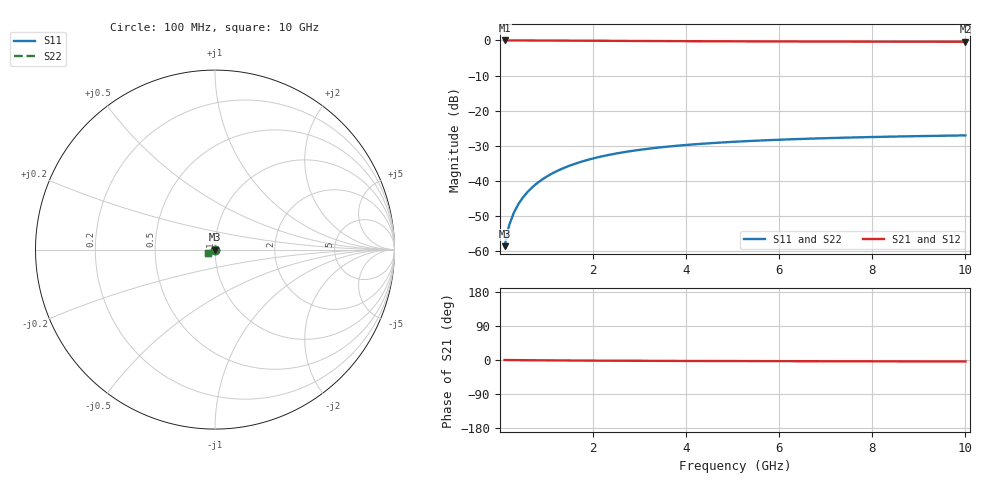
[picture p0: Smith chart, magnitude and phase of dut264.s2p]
! Touchstone file exported from HFSS 2024.1.0
!  File:  C:/UserFiles/LocalFiles/RDL_TSV_Batchsim/temp_TSV1_264_1778769617.aedt
!  Generated:  10:45:46 PM May 14, 2026
!  Design:  TSV1
!  Project:  temp_TSV1_264_1778769617
!  Setup:  Setup1
!  Solution:  Sweep
! Variables:
!  dtsv = 13.04um
!  hbump = 3um
!  htsv = 57.71um
!  lrdl = 252.1521522um
!  p = 40
!  p1 = 44.01um
!  t = 500um
!  trdl = 3um
!  wrdl = 24.89489489um
# GHz S MA R 50.000000
! Terminal data exported
! Port[1] = TSV22_T1
! Port[2] = TSV22_T2
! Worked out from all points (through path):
!   100 points, 100 MHz to 10 GHz, reference 50 ohm
!   highest |S21| = 0.00 dB at 100 MHz (marker M1); lowest = -0.4 dB at 10 GHz (marker M2)
!   lowest |S11| = -58.5 dB at 100 MHz (marker M3), VSWR 1.00, Z = 50 - j0.119 ohm
!   |S11| at or under -10 dB: start of sweep to end of sweep
!   |S22| runs from -58.5 to -27.0 dB; largest |S21 - S12| = 4.2e-15
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0.1  0.00119 -87.9  0.9999 -0.1  0.9999 -0.1  0.00119 -87.9
! Gamma 0 0 0 0
! Port Impedance 50 0 50 0
0.2  0.002384 -91.0  0.9998 -0.2  0.9998 -0.2  0.002384 -91.0
0.3  0.003578 -93.1  0.9996 -0.3  0.9996 -0.3  0.003578 -93.1
0.4  0.004763 -95.0  0.9994 -0.4  0.9994 -0.4  0.004763 -95.0
0.5  0.005938 -96.7  0.9991 -0.5  0.9991 -0.5  0.005938 -96.7
0.6  0.007099 -98.4  0.9987 -0.6  0.9987 -0.6  0.007099 -98.4
0.7  0.008243 -100.0  0.9983 -0.7  0.9983 -0.7  0.008243 -100.0
0.8  0.009369 -101.5  0.9979 -0.8  0.9979 -0.8  0.009369 -101.5
0.9  0.01048 -103.0  0.9974 -0.9  0.9974 -0.9  0.01048 -103.0
1.1  0.01262 -105.9  0.9963 -1.0  0.9963 -1.0  0.01262 -105.9
1.4  0.01565 -110.1  0.9943 -1.3  0.9943 -1.3  0.01565 -110.1
1.6  0.01754 -112.7  0.9929 -1.4  0.9929 -1.4  0.01754 -112.7
1.8  0.01932 -115.1  0.9915 -1.5  0.9915 -1.5  0.01932 -115.1
2.1  0.02179 -118.6  0.9893 -1.7  0.9893 -1.7  0.02179 -118.6
2.5  0.02471 -122.8  0.9864 -1.9  0.9864 -1.9  0.02471 -122.8
2.9  0.02725 -126.6  0.9836 -2.1  0.9836 -2.1  0.02725 -126.6
3.4  0.02997 -130.8  0.9804 -2.3  0.9804 -2.3  0.02997 -130.8
4.2  0.03345 -136.3  0.9757 -2.6  0.9757 -2.6  0.03345 -136.3
5.1  0.03646 -141.3  0.9714 -2.8  0.9714 -2.8  0.03646 -141.3
6.7  0.04024 -148.1  0.9657 -3.2  0.9657 -3.2  0.04024 -148.1
8.4  0.04292 -153.4  0.9614 -3.6  0.9614 -3.6  0.04292 -153.4
10  0.04468 -157.2  0.9585 -3.9  0.9585 -3.9  0.04468 -157.2
